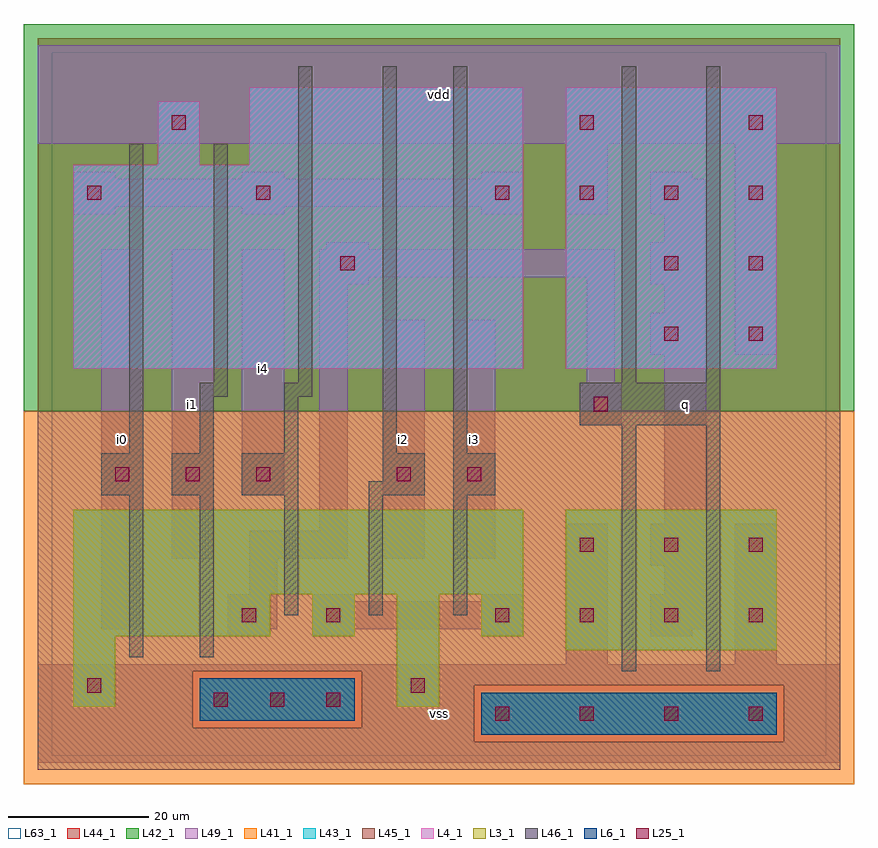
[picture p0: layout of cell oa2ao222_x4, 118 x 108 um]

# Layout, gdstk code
import gdstk
lib = gdstk.Library(unit=1e-6, precision=1e-09)
def R(c, l, rs):  # rectangles x0, y0, x1, y1
    for r in rs: c.add(gdstk.rectangle(r[:2], r[2:], *l))
def A(c, l, x, y, w, h, nx, ny, dx, dy):  # array of equal rectangles
    R(c, l, [(x+i*dx, y+j*dy, x+i*dx+w, y+j*dy+h) for i in range(nx) for j in range(ny)])
L3_1 = (3, 1)
L4_1 = (4, 1)
L6_1 = (6, 1)
L25_1 = (25, 1)
L41_1 = (41, 1)
L42_1 = (42, 1)
L43_1 = (43, 1)
L44_1 = (44, 1)
L45_1 = (45, 1)
L46_1 = (46, 1)
L49_1 = (49, 1)
L63_1 = (63, 1)

oa2ao222_x4 = lib.new_cell('oa2ao222_x4')
R(oa2ao222_x4, L3_1, [(3,7,9,17), (49,7,55,23), (73,15,103,35), (3,17,31,23), (37,17,43,23), (61,17,67,23), (3,23,67,35)])
R(oa2ao222_x4, L4_1, [(3,55,67,84), (73,55,103,95), (15,84,21,93), (28,84,67,95)])
R(oa2ao222_x4, L6_1, [(61,3,103,9), (21,5,43,11)])
A(oa2ao222_x4, L25_1, 63, 5, 2, 2, 4, 2, 12, 14)
A(oa2ao222_x4, L25_1, 23, 7, 2, 2, 3, 1, 8, 0)
A(oa2ao222_x4, L25_1, 75, 29, 2, 2, 3, 1, 12, 0)
A(oa2ao222_x4, L25_1, 9, 39, 2, 2, 3, 1, 10, 0)
A(oa2ao222_x4, L25_1, 63, 79, 2, 2, 4, 1, 12, 0)
R(oa2ao222_x4, L25_1, [(5,9,7,11), (51,9,53,11), (27,19,29,21), (39,19,41,21), (49,39,51,41), (59,39,61,41), (77,49,79,51), (87,59,89,61), (99,59,101,61), (41,69,43,71), (87,69,89,71), (99,69,101,71), (5,79,7,81), (29,79,31,81), (17,89,19,91), (75,89,77,91), (99,89,101,91)])
R(oa2ao222_x4, L41_1, [(-4,-4,114,49)])
R(oa2ao222_x4, L42_1, [(-4,49,114,104)])
R(oa2ao222_x4, L43_1, [(61,3,103,9), (21,5,43,11), (3,7,9,17), (49,7,55,23), (73,15,103,35), (3,17,31,23), (37,17,43,23), (61,17,67,23), (3,23,67,35), (3,55,67,84), (73,55,103,95), (15,84,21,93), (28,84,67,95)])
R(oa2ao222_x4, L44_1, [(60,2,104,10), (20,4,44,12), (-2,49,112,102)])
R(oa2ao222_x4, L45_1, [(-2,-2,112,2), (-2,2,60,4), (104,2,112,10), (-2,4,20,12), (44,4,60,10), (44,10,112,12), (-2,12,112,49)])
A(oa2ao222_x4, L46_1, 33, 20, 2, 17, 3, 1, 12, 0)
R(oa2ao222_x4, L46_1, [(81,12,83,47), (93,12,95,47), (11,14,13,37), (21,14,23,37), (7,37,13,43), (17,37,23,43), (27,37,35,43), (45,37,53,39), (57,37,63,43), (47,39,53,43), (11,43,13,87), (21,43,23,51), (33,43,35,51), (47,43,49,98), (57,43,59,98), (75,47,95,53), (21,51,25,53), (33,51,37,53), (23,53,25,87), (35,53,37,98), (81,53,83,98), (93,53,95,98)])
A(oa2ao222_x4, L49_1, 37, 17, 6, 1, 3, 1, 24, 0)
R(oa2ao222_x4, L49_1, [(-2,-1,112,13), (73,13,79,33), (97,13,103,33), (25,17,31,18), (7,18,13,72), (25,18,32,23), (37,18,67,22), (85,18,93,23), (37,22,43,23), (61,22,67,23), (28,23,32,28), (87,23,93,27), (85,27,93,33), (17,28,23,72), (28,28,42,32), (47,28,53,62), (57,28,63,62), (38,32,42,67), (87,33,93,57), (27,37,33,72), (75,47,81,53), (76,53,80,68), (85,57,93,63), (97,57,103,87), (87,63,93,67), (38,67,45,68), (85,67,93,73), (38,68,80,72), (39,72,45,73), (87,73,93,77), (3,77,9,78), (27,77,33,78), (61,77,67,78), (73,77,79,87), (85,77,93,82), (3,78,67,82), (3,82,9,83), (27,82,33,83), (61,82,67,83), (85,82,91,83), (-2,87,112,101)])
R(oa2ao222_x4, L63_1, [(0,0,110,100)])
oa2ao222_x4.add(gdstk.Label('i0', (10,45), layer=49, texttype=1))
oa2ao222_x4.add(gdstk.Label('i0', (10,45), layer=49, texttype=1))
oa2ao222_x4.add(gdstk.Label('i1', (20,50), layer=49, texttype=1))
oa2ao222_x4.add(gdstk.Label('i1', (20,50), layer=49, texttype=1))
oa2ao222_x4.add(gdstk.Label('i4', (30,55), layer=49, texttype=1))
oa2ao222_x4.add(gdstk.Label('i4', (30,55), layer=49, texttype=1))
oa2ao222_x4.add(gdstk.Label('vss', (55,6), layer=49, texttype=1))
oa2ao222_x4.add(gdstk.Label('vss', (55,6), layer=49, texttype=1))
oa2ao222_x4.add(gdstk.Label('i2', (50,45), layer=49, texttype=1))
oa2ao222_x4.add(gdstk.Label('i3', (60,45), layer=49, texttype=1))
oa2ao222_x4.add(gdstk.Label('i3', (60,45), layer=49, texttype=1))
oa2ao222_x4.add(gdstk.Label('i2', (50,45), layer=49, texttype=1))
oa2ao222_x4.add(gdstk.Label('vdd', (55,94), layer=49, texttype=1))
oa2ao222_x4.add(gdstk.Label('vdd', (55,94), layer=49, texttype=1))
oa2ao222_x4.add(gdstk.Label('q', (90,50), layer=49, texttype=1))
oa2ao222_x4.add(gdstk.Label('q', (90,50), layer=49, texttype=1))

lib.write_gds('oa2ao222_x4.gds')
